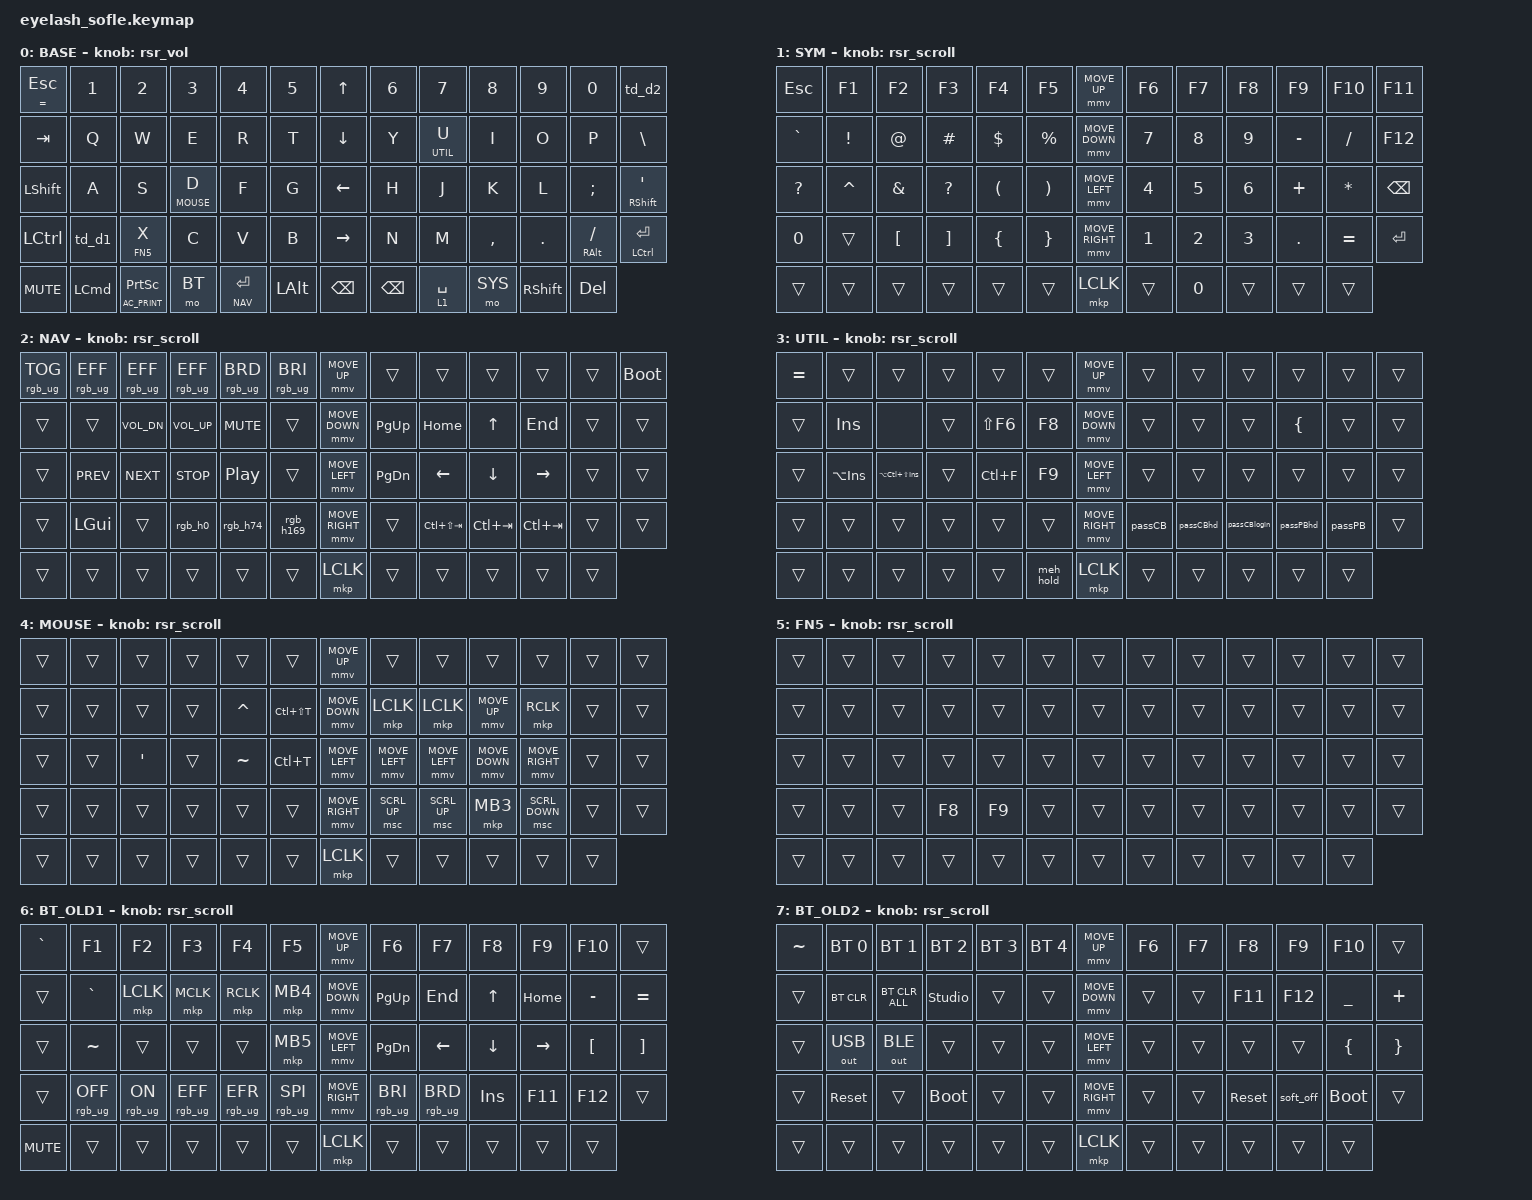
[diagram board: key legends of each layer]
#define ZMK_POINTING_DEFAULT_MOVE_VAL 1200
#define ZMK_POINTING_DEFAULT_SCRL_VAL 25

#include <input/processors.dtsi>
#include <zephyr/dt-bindings/input/input-event-codes.h>
#include <behaviors.dtsi>
#include <behaviors/runtime-sensor-rotate.dtsi>
#include <dt-bindings/zmk/bt.h>
#include <dt-bindings/zmk/keys.h>
#include <dt-bindings/zmk/outputs.h>
#include <dt-bindings/zmk/pointing.h>
#include <dt-bindings/zmk/rgb.h>

#define BASE 0
#define SYM 1
#define NAV 2
#define UTIL 3
#define MOUSE 4
#define FN5 5
#define BT 6
#define SYS 7

&mmv_input_listener { input-processors = <&zip_xy_scaler 2 1>; };

&msc_input_listener { input-processors = <&zip_scroll_scaler 2 1>; };

&msc {
    acceleration-exponent = <1>;
    time-to-max-speed-ms = <100>;
    delay-ms = <0>;
};

&mmv {
    time-to-max-speed-ms = <500>;
    acceleration-exponent = <1>;
    trigger-period-ms = <16>;
};

&soft_off { hold-time-ms = <2000>; };

/ {
    behaviors {
        rsr_vol: rsr_vol {
            compatible = "zmk,behavior-runtime-sensor-rotate";
            #sensor-binding-cells = <0>;
            tap-ms = <5>;
            cw-binding = <&kp C_VOL_UP>;
            ccw-binding = <&kp C_VOL_DN>;
        };

        rsr_scroll: rsr_scroll {
            compatible = "zmk,behavior-runtime-sensor-rotate";
            #sensor-binding-cells = <0>;
            tap-ms = <100>;
            cw-binding = <&msc SCRL_DOWN>;
            ccw-binding = <&msc SCRL_UP>;
        };

        ht_sqt: ht_sqt {
            compatible = "zmk,behavior-hold-tap";
            #binding-cells = <2>;
            flavor = "tap-preferred";
            tapping-term-ms = <250>;
            quick-tap-ms = <175>;
            bindings = <&kp>, <&kp>;
        };

        td_d0: td_d0 {
            compatible = "zmk,behavior-tap-dance";
            #binding-cells = <0>;
            tapping-term-ms = <150>;
            bindings = <&mt LEFT_CONTROL LEFT_CONTROL>, <&kp LEFT_GUI>;
        };

        td_d1: td_d1 {
            compatible = "zmk,behavior-tap-dance";
            #binding-cells = <0>;
            tapping-term-ms = <150>;
            bindings = <&kp Z>, <&kp LEFT_WIN>;
        };

        td_d2: td_d2 {
            compatible = "zmk,behavior-tap-dance";
            #binding-cells = <0>;
            tapping-term-ms = <150>;
            bindings = <&kp MINUS>, <&kp DELETE>;
        };

        td_d3: td_d3 {
            compatible = "zmk,behavior-tap-dance";
            #binding-cells = <0>;
            tapping-term-ms = <150>;
            bindings = <&lt SYM SPACE>, <&kp DOT>;
        };
    };

    combos {
        compatible = "zmk,combos";

        softoff {
            bindings = <&soft_off>;
            key-positions = <14 28 40>;
        };
    };

    macros {
        SHIFT_MCLK: SHIFT_MCLK {
            compatible = "zmk,behavior-macro";
            #binding-cells = <0>;
            bindings =
                <&macro_press>,
                <&kp LEFT_SHIFT>,
                <&macro_press>,
                <&mkp MB3>,
                <&macro_pause_for_release>,
                <&macro_release>,
                <&kp LEFT_SHIFT &mkp MB3>;
        };

        meh_hold: meh_hold {
            compatible = "zmk,behavior-macro";
            #binding-cells = <0>;
            wait-ms = <0>;
            tap-ms = <0>;
            bindings =
                <&macro_press>,
                <&kp LEFT_CONTROL &kp LEFT_ALT &kp LEFT_SHIFT>,
                <&macro_pause_for_release>,
                <&macro_release>,
                <&kp LEFT_CONTROL &kp LEFT_ALT &kp LEFT_SHIFT>;
        };

        rgb_h0: rgb_h0 {
            compatible = "zmk,behavior-macro";
            #binding-cells = <0>;
            wait-ms = <0>;
            tap-ms = <0>;
            bindings = <&macro_tap>, <&rgb_ug RGB_COLOR_HSB(0,100,100)>;
        };

        rgb_h74: rgb_h74 {
            compatible = "zmk,behavior-macro";
            #binding-cells = <0>;
            wait-ms = <0>;
            tap-ms = <0>;
            bindings = <&macro_tap>, <&rgb_ug RGB_COLOR_HSB(74,100,100)>;
        };

        rgb_h169: rgb_h169 {
            compatible = "zmk,behavior-macro";
            #binding-cells = <0>;
            wait-ms = <0>;
            tap-ms = <0>;
            bindings = <&macro_tap>, <&rgb_ug RGB_COLOR_HSB(169,100,100)>;
        };

        passCB: passCB {
            compatible = "zmk,behavior-macro";
            #binding-cells = <0>;
            bindings = <&kp LS(W) &kp O &kp N1 &kp LS(F) &kp N2 &kp N0 &kp N2 &kp N5 &kp N0 &kp N2 &kp N1 &kp N7>;
            label = "PASSCB";
        };

        passPB: passPB {
            compatible = "zmk,behavior-macro";
            #binding-cells = <0>;
            bindings = <&kp LS(A) &kp C &kp E &kp S &kp S &kp O &kp LS(T) &kp E &kp M &kp P &kp O &kp AT &kp N1 &kp N0 &kp N0 &kp N1 &kp N0 &kp N0>;
            label = "PASSPB";
        };

        passCBhd: passCBhd {
            compatible = "zmk,behavior-macro";
            #binding-cells = <0>;
            bindings = <&kp N8 &kp N4 &kp N6 &kp N5 &kp N1 &kp N3 &kp N2 &kp N1>;
            label = "PASSCBHD";
        };

        passPBhd: passPBhd {
            compatible = "zmk,behavior-macro";
            #binding-cells = <0>;
            bindings = <&kp D &kp I &kp D &kp O &kp N1 &kp N3 &kp MINUS &kp N1>;
            label = "PASSPBHD";
        };

        passCBlogin: passCBlogin {
            compatible = "zmk,behavior-macro";
            #binding-cells = <0>;
            bindings = <&kp LS(A) &kp C &kp E &kp S &kp S &kp O &kp LS(T) &kp E &kp M &kp P &kp O &kp AT &kp N3 &kp N0 &kp N0 &kp N3 &kp N0 &kp N0>;
            label = "PASSCBLOGIN";
        };
    };

    keymap {
        compatible = "zmk,keymap";

        layer0 {
            bindings = <
&mt EQUAL ESC     &kp N1            &kp N2                      &kp N3       &kp N4         &kp N5          &kp UP_ARROW     &kp N6         &kp N7       &kp N8     &kp N9           &kp N0              &td_d2
&kp TAB           &kp Q             &kp W                       &kp E        &kp R          &kp T           &kp DOWN_ARROW   &kp Y          &lt UTIL U   &kp I      &kp O            &kp P               &kp BSLH
&kp LEFT_SHIFT    &kp A             &kp S                       &lt MOUSE D  &kp F          &kp G           &kp LEFT_ARROW   &kp H          &kp J        &kp K      &kp L            &kp SEMI            &ht_sqt RIGHT_SHIFT SQT
&kp LEFT_CONTROL  &td_d1            &lt FN5 X                   &kp C        &kp V          &kp B           &kp RIGHT_ARROW  &kp N          &kp M        &kp COMMA  &kp DOT          &mt RIGHT_ALT FSLH  &mt LEFT_CONTROL ENTER
&kp C_MUTE        &kp LEFT_COMMAND  &mt C_AC_PRINT PRINTSCREEN  &mo BT       &lt NAV ENTER  &kp LEFT_ALT    &kp BACKSPACE    &kp BACKSPACE  &lt 1 SPACE  &mo SYS    &kp RIGHT_SHIFT  &kp DELETE
            >;

            sensor-bindings = <&rsr_vol>;
            display-name = "BASE";
        };

        layer_1 {
            bindings = <
&kp ESC    &kp F1     &kp F2            &kp F3             &kp F4          &kp F5             &mmv MOVE_UP     &kp F6  &kp F7  &kp F8  &kp F9     &kp F10    &kp F11
&kp GRAVE  &kp EXCL   &kp AT            &kp HASH           &kp DLLR        &kp PRCNT          &mmv MOVE_DOWN   &kp N7  &kp N8  &kp N9  &kp MINUS  &kp FSLH   &kp F12
&kp QMARK  &kp CARET  &kp AMPS          &kp QMARK          &kp LPAR        &kp RPAR           &mmv MOVE_LEFT   &kp N4  &kp N5  &kp N6  &kp PLUS   &kp ASTRK  &kp BACKSPACE
&kp N0     &trans     &kp LEFT_BRACKET  &kp RIGHT_BRACKET  &kp LEFT_BRACE  &kp RIGHT_BRACE    &mmv MOVE_RIGHT  &kp N1  &kp N2  &kp N3  &kp DOT    &kp EQUAL  &kp ENTER
&trans     &trans     &trans            &trans             &trans          &trans             &mkp LCLK        &trans  &kp N0  &trans  &trans     &trans
            >;

            display-name = "SYM";
            sensor-bindings = <&rsr_scroll>;
        };

        layer_2 {
            bindings = <
&rgb_ug RGB_TOG  &rgb_ug RGB_EFF  &rgb_ug RGB_EFF  &rgb_ug RGB_EFF  &rgb_ug RGB_BRD  &rgb_ug RGB_BRI    &mmv MOVE_UP     &trans     &trans           &trans          &trans           &trans  &bootloader
&trans           &trans           &kp C_VOL_DN     &kp C_VOL_UP     &kp C_MUTE       &trans             &mmv MOVE_DOWN   &kp PG_UP  &kp HOME         &kp UP_ARROW    &kp END          &trans  &trans
&trans           &kp C_PREV       &kp C_NEXT       &kp C_STOP       &kp C_PP         &trans             &mmv MOVE_LEFT   &kp PG_DN  &kp LEFT_ARROW   &kp DOWN_ARROW  &kp RIGHT_ARROW  &trans  &trans
&trans           &kp LEFT_GUI     &trans           &rgb_h0          &rgb_h74         &rgb_h169          &mmv MOVE_RIGHT  &trans     &kp LC(LS(TAB))  &kp LC(TAB)     &kp LC(TAB)      &trans  &trans
&trans           &trans           &trans           &trans           &trans           &trans             &mkp LCLK        &trans     &trans           &trans          &trans           &trans
            >;

            display-name = "NAV";
            sensor-bindings = <&rsr_scroll>;
        };

        layer_3 {
            bindings = <
&kp EQUAL  &trans          &trans                  &trans  &trans      &trans       &mmv MOVE_UP     &trans   &trans     &trans        &trans          &trans   &trans
&trans     &kp INSERT      &none                   &trans  &kp LS(F6)  &kp F8       &mmv MOVE_DOWN   &trans   &trans     &trans        &kp LEFT_BRACE  &trans   &trans
&trans     &kp LA(INSERT)  &kp LA(LC(LS(INSERT)))  &trans  &kp LC(F)   &kp F9       &mmv MOVE_LEFT   &trans   &trans     &trans        &trans          &trans   &trans
&trans     &trans          &trans                  &trans  &trans      &trans       &mmv MOVE_RIGHT  &passCB  &passCBhd  &passCBlogin  &passPBhd       &passPB  &trans
&trans     &trans          &trans                  &trans  &trans      &meh_hold    &mkp LCLK        &trans   &trans     &trans        &trans          &trans
            >;

            display-name = "UTIL";
            sensor-bindings = <&rsr_scroll>;
        };

        layer_4 {
            bindings = <
&trans  &trans  &trans   &trans  &trans     &trans           &mmv MOVE_UP     &trans          &trans          &trans          &trans           &trans  &trans
&trans  &trans  &trans   &trans  &kp CARET  &kp LC(LS(T))    &mmv MOVE_DOWN   &mkp LCLK       &mkp LCLK       &mmv MOVE_UP    &mkp RCLK        &trans  &trans
&trans  &trans  &kp SQT  &trans  &kp TILDE  &kp LC(T)        &mmv MOVE_LEFT   &mmv MOVE_LEFT  &mmv MOVE_LEFT  &mmv MOVE_DOWN  &mmv MOVE_RIGHT  &trans  &trans
&trans  &trans  &trans   &trans  &trans     &trans           &mmv MOVE_RIGHT  &msc SCRL_UP    &msc SCRL_UP    &mkp MB3        &msc SCRL_DOWN   &trans  &trans
&trans  &trans  &trans   &trans  &trans     &trans           &mkp LCLK        &trans          &trans          &trans          &trans           &trans
            >;

            display-name = "MOUSE";
            sensor-bindings = <&rsr_scroll>;
        };

        layer_5 {
            bindings = <
&trans  &trans  &trans  &trans  &trans  &trans    &trans  &trans  &trans  &trans  &trans  &trans  &trans
&trans  &trans  &trans  &trans  &trans  &trans    &trans  &trans  &trans  &trans  &trans  &trans  &trans
&trans  &trans  &trans  &trans  &trans  &trans    &trans  &trans  &trans  &trans  &trans  &trans  &trans
&trans  &trans  &trans  &kp F8  &kp F9  &trans    &trans  &trans  &trans  &trans  &trans  &trans  &trans
&trans  &trans  &trans  &trans  &trans  &trans    &trans  &trans  &trans  &trans  &trans  &trans
            >;

            display-name = "FN5";
            sensor-bindings = <&rsr_scroll>;
        };

        layer_6 {
            bindings = <
&kp GRAVE   &kp F1           &kp F2          &kp F3           &kp F4           &kp F5             &mmv MOVE_UP     &kp F6           &kp F7           &kp F8          &kp F9           &kp F10           &trans
&trans      &kp GRAVE        &mkp LCLK       &mkp MCLK        &mkp RCLK        &mkp MB4           &mmv MOVE_DOWN   &kp PG_UP        &kp END          &kp UP_ARROW    &kp HOME         &kp MINUS         &kp EQUAL
&trans      &kp TILDE        &trans          &trans           &trans           &mkp MB5           &mmv MOVE_LEFT   &kp PG_DN        &kp LEFT_ARROW   &kp DOWN_ARROW  &kp RIGHT_ARROW  &kp LEFT_BRACKET  &kp RIGHT_BRACKET
&trans      &rgb_ug RGB_OFF  &rgb_ug RGB_ON  &rgb_ug RGB_EFF  &rgb_ug RGB_EFR  &rgb_ug RGB_SPI    &mmv MOVE_RIGHT  &rgb_ug RGB_BRI  &rgb_ug RGB_BRD  &kp INSERT      &kp F11          &kp F12           &trans
&kp C_MUTE  &trans           &trans          &trans           &trans           &trans             &mkp LCLK        &trans           &trans           &trans          &trans           &trans
            >;

            display-name = "BT_OLD1";
            sensor-bindings = <&rsr_scroll>;
        };

        layer_7 {
            bindings = <
&kp TILDE  &bt BT_SEL 0  &bt BT_SEL 1    &bt BT_SEL 2  &bt BT_SEL 3  &bt BT_SEL 4    &mmv MOVE_UP     &kp F6  &kp F7  &kp F8      &kp F9     &kp F10      &trans
&trans     &bt BT_CLR    &bt BT_CLR_ALL  &studio_unlock  &trans      &trans          &mmv MOVE_DOWN   &trans  &trans  &kp F11     &kp F12    &kp UNDER    &kp PLUS
&trans     &out OUT_USB  &out OUT_BLE    &trans        &trans        &trans          &mmv MOVE_LEFT   &trans  &trans  &trans      &trans     &kp LBRC     &kp RBRC
&trans     &sys_reset    &trans          &bootloader   &trans        &trans          &mmv MOVE_RIGHT  &trans  &trans  &sys_reset  &soft_off  &bootloader  &trans
&trans     &trans        &trans          &trans        &trans        &trans          &mkp LCLK        &trans  &trans  &trans      &trans     &trans
            >;

            display-name = "BT_OLD2";
            sensor-bindings = <&rsr_scroll>;
        };
    };
};
